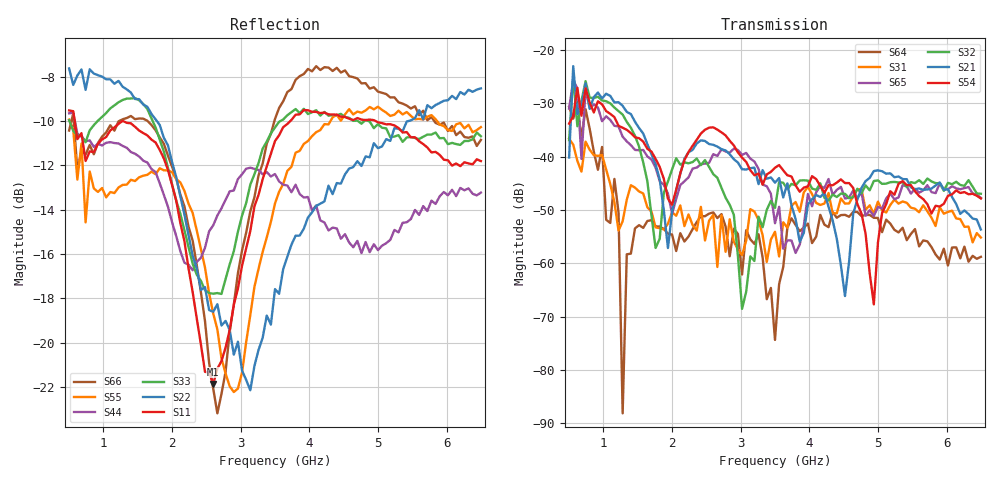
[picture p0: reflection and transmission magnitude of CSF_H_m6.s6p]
!Keysight Technologies,M9804A,MY58100912,A.14.10.03
!Date: Thursday, April 27, 2023 10:28:33
!Correction: S11(C  6-Port  )
!S12(C  6-Port  )
!S13(C  6-Port  )
!S14(C  6-Port  )
!S15(C  6-Port  )
!S16(C  6-Port  )
!S21(C  6-Port  )
!S22(C  6-Port  )
!S23(C  6-Port  )
!S24(C  6-Port  )
!S25(C  6-Port  )
!S26(C  6-Port  )
!S31(C  6-Port  )
!S32(C  6-Port  )
!S33(C  6-Port  )
!S34(C  6-Port  )
!S35(C  6-Port  )
!S36(C  6-Port  )
!S41(C  6-Port  )
!S42(C  6-Port  )
!S43(C  6-Port  )
!S44(C  6-Port  )
!S45(C  6-Port  )
!S46(C  6-Port  )
!S51(C  6-Port  )
!S52(C  6-Port  )
!S53(C  6-Port  )
!S54(C  6-Port  )
!S55(C  6-Port  )
!S56(C  6-Port  )
!S61(C  6-Port  )
!S62(C  6-Port  )
!S63(C  6-Port  )
!S64(C  6-Port  )
!S65(C  6-Port  )
!S66(C  6-Port  )
!S6P File: Measurement: :
# Hz S  RI  R 50
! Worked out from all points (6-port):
!   101 points, 500 MHz to 6.5 GHz, reference 50 ohm
!   strongest paths, dB at 500 MHz, 2 GHz, 3.5 GHz, 5 GHz, 6.5 GHz:
!     S54: -33.8, -49.0, -42.1, -56.1, -47.8
!     S21: -40.2, -50.4, -44.9, -42.6, -53.7
!     S32: -36.9, -42.4, -49.6, -44.5, -47.0
!     S65: -31.0, -50.7, -52.5, -49.4, -47.7
!     S31: -36.6, -50.4, -54.1, -48.4, -55.2
!     S64: -30.7, -54.6, -74.4, -51.5, -58.8
!   lowest |S11| = -21.9 dB at 2.6 GHz (marker M1), VSWR 1.18, Z = 42.8 + j1.94 ohm
!   |S11| at or under -10 dB: 581.4 MHz to 1.274 GHz (692.6 MHz wide, 74.7 % of centre); 1.289 GHz to 3.722 GHz (2.432 GHz wide, 97.1 % of centre); 4.969 GHz to end of sweep
